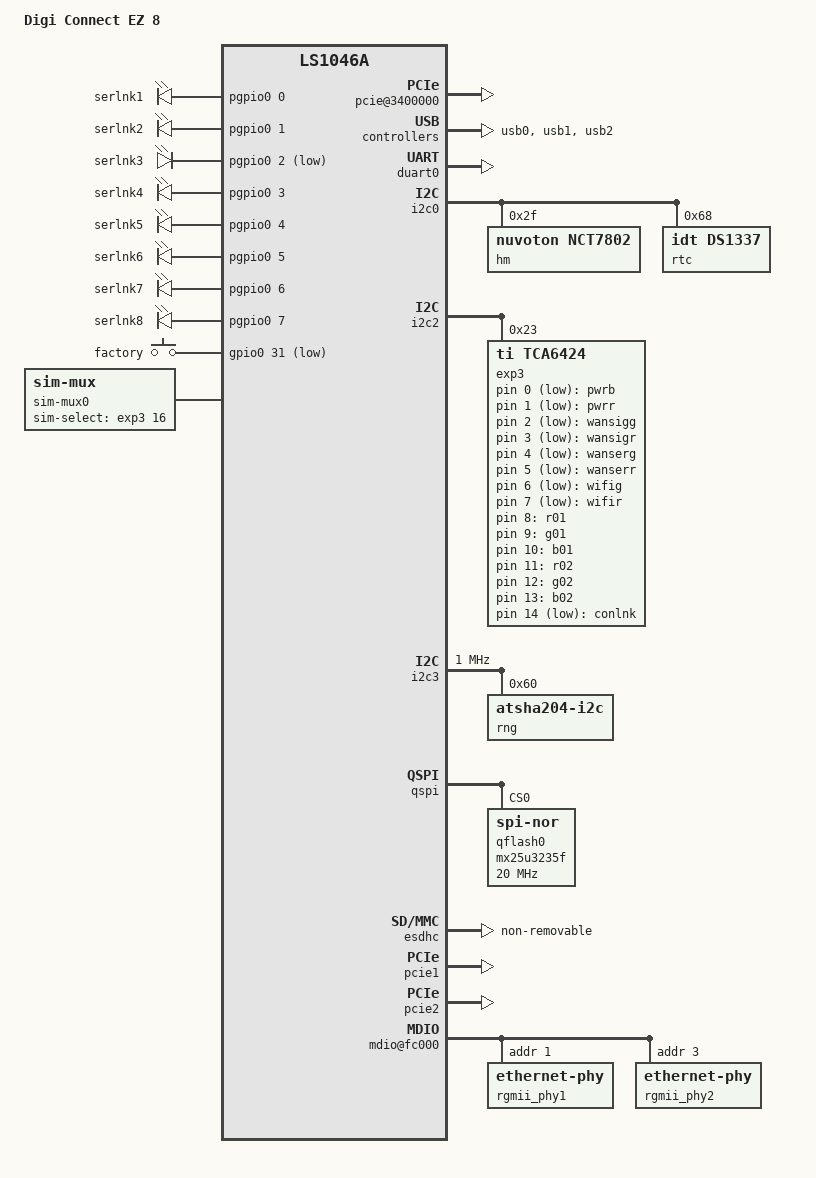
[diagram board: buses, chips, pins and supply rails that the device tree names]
// SPDX-License-Identifier: (GPL-2.0+ OR MIT)
/*
 * Device Tree Include file for Digi Connect EZ 8.
 *
 * Copyright 2016 Freescale Semiconductor, Inc.
 * Copyright 2018.2021 Digi Inc.
 *
 * Mingkai Hu <mingkai.hu@nxp.com>
 * Greg Ungerer <gregory.ungerer@digi.com>
 */

/dts-v1/;

#include "fsl-ls1046a.dtsi"
#include <dt-bindings/interrupt-controller/arm-gic.h>
#include <dt-bindings/gpio/gpio.h>
#include <dt-bindings/input/input.h>

/ {
	model = "Digi Connect EZ 8";
	compatible = "digi,connectez8", "fsl,ls1046a";

	aliases {
		serial0 = &duart0;
		serial1 = &duart1;
	};

	chosen {
		stdout-path = "serial0:115200n8";
	};

	pgpio0: pericom-gpio0 {
		#gpio-cells = <2>;
		gpio-controller;
		gpio-line-names = "serlnk1", "serlnk2", "serlnk3", "serlnk4",
		                  "serlnk5", "serlnk6", "serlnk7", "serlnk8";
	};

	leds {
		compatible = "gpio-leds";

		serlnk1 {
			label = "serlnk1";
			gpios = <&pgpio0 0 GPIO_ACTIVE_HIGH>;
			linux,default-trigger = "timer";
			default-state = "off";
		};

		serlnk2 {
			label = "serlnk2";
			gpios = <&pgpio0 1 GPIO_ACTIVE_HIGH>;
			linux,default-trigger = "timer";
			default-state = "off";
		};

		serlnk3 {
			label = "serlnk3";
			gpios = <&pgpio0 2 GPIO_ACTIVE_LOW>;
			linux,default-trigger = "timer";
			default-state = "off";
		};

		serlnk4 {
			label = "serlnk4";
			gpios = <&pgpio0 3 GPIO_ACTIVE_HIGH>;
			linux,default-trigger = "timer";
			default-state = "off";
		};

		serlnk5 {
			label = "serlnk5";
			gpios = <&pgpio0 4 GPIO_ACTIVE_HIGH>;
			linux,default-trigger = "timer";
			default-state = "off";
		};

		serlnk6 {
			label = "serlnk6";
			gpios = <&pgpio0 5 GPIO_ACTIVE_HIGH>;
			linux,default-trigger = "timer";
			default-state = "off";
		};

		serlnk7 {
			label = "serlnk7";
			gpios = <&pgpio0 6 GPIO_ACTIVE_HIGH>;
			linux,default-trigger = "timer";
			default-state = "off";
		};

		serlnk8 {
			label = "serlnk8";
			gpios = <&pgpio0 7 GPIO_ACTIVE_HIGH>;
			linux,default-trigger = "timer";
			default-state = "off";
		};

		pwr_blue {
			label = "pwrb";
			/* Actually active high but we want it to be on at boot */
			gpios = <&exp3 0 GPIO_ACTIVE_LOW>;
			linux,default-trigger = "timer";
			default-state = "off";
		};

		pwr_red {
			label = "pwrr";
			gpios = <&exp3 1 GPIO_ACTIVE_LOW>;
			linux,default-trigger = "timer";
			default-state = "off";
		};

		wwan_sig_gr {
			label = "wansigg";
			gpios = <&exp3 2 GPIO_ACTIVE_LOW>;
			linux,default-trigger = "timer";
			default-state = "off";
		};

		wwan_sig_red {
			label = "wansigr";
			gpios = <&exp3 3 GPIO_ACTIVE_LOW>;
			linux,default-trigger = "timer";
		};

		wwan_serv_gr {
			label = "wanserg";
			gpios = <&exp3 4 GPIO_ACTIVE_LOW>;
			linux,default-trigger = "timer";
			default-state = "off";
		};

		wwan_serv_red {
			label = "wanserr";
			gpios = <&exp3 5 GPIO_ACTIVE_LOW>;
			linux,default-trigger = "timer";
			default-state = "off";
		};

		wifi_gr {
			label = "wifig";
			gpios = <&exp3 6 GPIO_ACTIVE_LOW>;
			linux,default-trigger = "timer";
			default-state = "off";
		};

		wifi_red {
			label = "wifir";
			gpios = <&exp3 7 GPIO_ACTIVE_LOW>;
			linux,default-trigger = "timer";
			default-state = "off";
		};

		usb1_red {
			label = "r01";
			gpios = <&exp3 8 GPIO_ACTIVE_HIGH>;
			linux,default-trigger = "timer";
			default-state = "off";
		};

		usb1_gr {
			label = "g01";
			gpios = <&exp3 9 GPIO_ACTIVE_HIGH>;
			linux,default-trigger = "timer";
			default-state = "off";
		};

		usb1_blue {
			label = "b01";
			gpios = <&exp3 10 GPIO_ACTIVE_HIGH>;
			linux,default-trigger = "timer";
			default-state = "off";
		};

		usb2_red {
			label = "r02";
			gpios = <&exp3 11 GPIO_ACTIVE_HIGH>;
			linux,default-trigger = "timer";
			default-state = "off";
		};

		usb2_gr {
			label = "g02";
			gpios = <&exp3 12 GPIO_ACTIVE_HIGH>;
			linux,default-trigger = "timer";
			default-state = "off";
		};

		usb2_blue {
			label = "b02";
			gpios = <&exp3 13 GPIO_ACTIVE_HIGH>;
			linux,default-trigger = "timer";
			default-state = "off";
		};

		con_link {
			label = "conlnk";
			gpios = <&exp3 14 GPIO_ACTIVE_LOW>;
			linux,default-trigger = "timer";
			default-state = "off";
		};
	};

	soc {
		 pcie@3400000 {
			compatible = "fsl,ls1046a-pcie", "snps,dw-pcie";
			status = "okay";
			num-ib-windows = <6>;
			num-ob-windows = <6>;
		 };
		 pcie@3500000 {
			status = "disabled";
		 };
		 pcie@3600000 {
			status = "disabled";
		 };

		aux_bus {
			usb0: usb@2f00000 {
				usb3-lpm-capable;
				snps,dis-u1u2-when-u3-quirk;
				snps,incr-burst-type-adjustment = <1>, <4>, <8>, <16>;
				clock-names = "ref", "bus_early", "suspend";
				clocks = <&clockgen 4 1>, <&clockgen 4 1>,<&clockgen 4 1>;
				status = "okay";
			};

			usb1: usb@3000000 {
				usb3-lpm-capable;
				snps,dis-u1u2-when-u3-quirk;
				snps,incr-burst-type-adjustment = <1>, <4>, <8>, <16>;
				clock-names = "ref", "bus_early", "suspend";
				clocks = <&clockgen 4 1>, <&clockgen 4 1>,<&clockgen 4 1>;
				status = "okay";
			};

			usb2: usb@3100000 {
				usb3-lpm-capable;
				snps,dis-u1u2-when-u3-quirk;
				snps,incr-burst-type-adjustment = <1>, <4>, <8>, <16>;
				clock-names = "ref", "bus_early", "suspend";
				clocks = <&clockgen 4 1>, <&clockgen 4 1>,<&clockgen 4 1>;
				status = "okay";
			};
		};
	};

	gpio-keys {
		compatible = "gpio-keys";

		factory-button {
			label = "factory";
			linux,code = <KEY_DELETE>;
			gpios = <&gpio0 31 GPIO_ACTIVE_LOW>;
		};
	};

	sim-mux0 {
		compatible = "sim-mux";

		sim-select-gpios  = <&exp3 16 GPIO_ACTIVE_HIGH>;

		sim-count = <2>;
	};
};

&duart0 {
	status = "okay";
	dtr-gpios = <&gpio0 27 GPIO_ACTIVE_LOW>;
	dsr-gpios = <&gpio0 29 GPIO_ACTIVE_LOW>;
	dcd-gpios = <&gpio0 28 GPIO_ACTIVE_LOW>;
	rng-gpios = <&gpio0 30 GPIO_ACTIVE_LOW>;
	uart-has-rtscts;
};

&i2c0 {
	status = "okay";
	hm@2f {
		compatible = "nuvoton,nct7802";
		reg = <0x2f>;
	};
	rtc@68 {
		compatible = "idt,ds1337";
		reg = <0x68>;
	};
};

&i2c2 {
	status = "okay";
	
	exp3: tca6416@23 {
		#gpio-cells = <2>;
		compatible = "ti,tca6424";
		reg = <0x23>;
		gpio-controller;
		gpio-line-names = "pwr_blue", "pwr_red", "wwan_gr", "wwan_red", "wwan_serv_gr", "wwan_serv_red", "wifi_gr", "wifi_red",
		                  "usb1_red", "usb1_gr", "usb1_blue", "usb2_red", "usb2_gr", "usb2_blue", "con_link", "wifi_pcie_led",
						  "sim_switch", "cell_pwr_en", "cell_det", "wifi_dis", "ta_prog_sfp", "", "", "";
	};
};

&i2c3 {
	clock-frequency = <1000000>;
	status = "okay";

	rng: atecc608b@60 {
		compatible = "atsha204-i2c";
		reg = <0x60>;
	};
};

&qspi {
	num-cs = <1>;
	bus-num = <0>;
	status = "okay";

	qflash0: mx25u3235f@0 {
		compatible = "jedec,spi-nor";
		#address-cells = <1>;
		#size-cells = <1>;
		spi-max-frequency = <20000000>;
		spi-rx-bus-width = <1>;
		spi-tx-bus-width = <1>;
		reg = <0>;
	};
};

&esdhc {
	mmc-hs200-1_8v;
	non-removable;
	status = "okay";
};

&pcie1 {
	status = "okay";
};

&pcie2 {
	status = "okay";
};

&ifc {
	status = "disabled";
};

#include "fsl-ls1046-post.dtsi"

&fman0 {
	ethernet@e0000 {
		status = "disabled";
	};

	ethernet@e2000 {
		status = "disabled";
	};

	ethernet@e4000 {
		phy-handle = <&rgmii_phy1>;
		phy-mode = "rgmii-id";
	};

	ethernet@e6000 {
		phy-handle = <&rgmii_phy2>;
		phy-mode = "rgmii-id";
	};

	ethernet@e8000 {
		status = "disabled";
	};

	ethernet@ea000 {
		phy-mode = "sgmii";
		fixed-link {
			speed = <1000>;
			full-duplex;
		};
	};

	ethernet@f0000 {
		phy-mode = "xgmii";
		fixed-link {
			speed = <1000>;
			full-duplex;
		};
	};

	ethernet@f2000 {
		phy-mode = "xgmii";
		fixed-link {
			speed = <1000>;
			full-duplex;
		};
	};

	mdio@fc000 {
		rgmii_phy1: ethernet-phy@1 {
			reg = <0x1>;
		};

		rgmii_phy2: ethernet-phy@2 {
			reg = <0x3>;
		};
	};
};

&gpio0 {
	gpio-line-names = "", "", "", "", "", "", "", "",
			  "", "", "", "", "", "", "", "",
			  "", "", "", "", "", "", "", "",
			  "", "", "", "", "", "", "", "factory";
};

&gpio1 {
	gpio-line-names = "", "", "", "", "", "", "", "",
			  "", "", "", "", "developer_", "", "", "",
			  "", "", "", "", "", "", "", "",
			  "", "", "", "", "", "", "", "";
};
